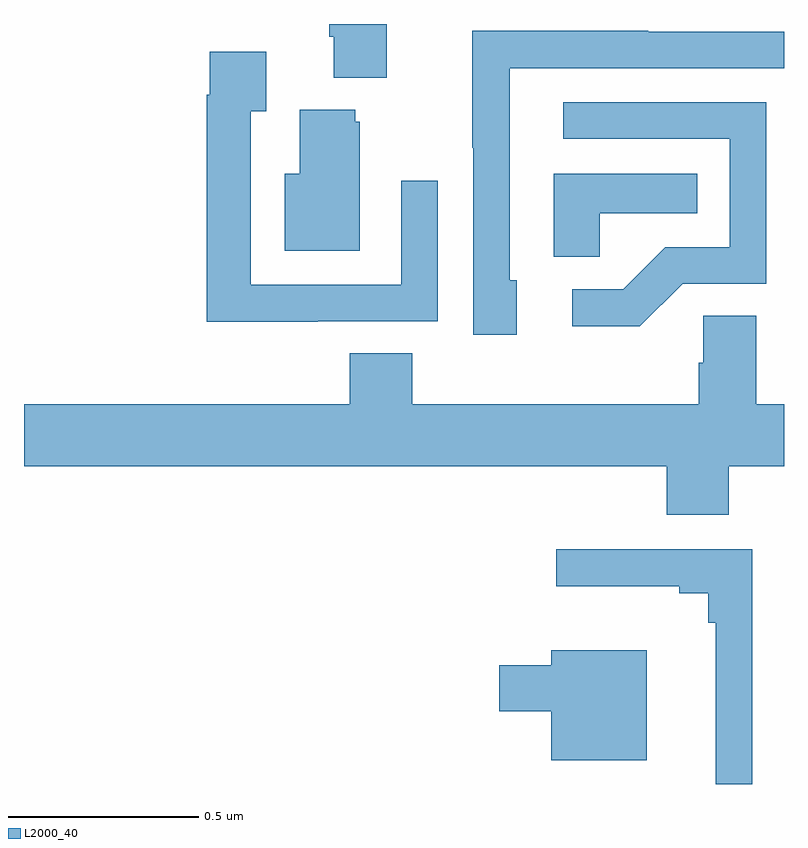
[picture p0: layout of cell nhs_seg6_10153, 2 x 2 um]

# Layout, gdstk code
import gdstk
lib = gdstk.Library(unit=1e-6, precision=1e-09)
def P(c, l, *ps):  # polygons
    for p in ps: c.add(gdstk.Polygon(p, *l))
L2000_40 = (2000, 40)

nhs_seg6_10153 = lib.new_cell('nhs_seg6_10153')
P(nhs_seg6_10153, L2000_40, [(243.955,948.5),(243.803,948.5),(243.803,948.466),(243.815,948.466),(243.815,948.359),(243.955,948.359)],
  [(244.297,947.826),(244.278,947.826),(244.278,948.384),(245,948.384),(245,948.48),(244.643,948.48),(244.643,948.482),(244.18,948.482),(244.18,948.175),(244.182,948.175),(244.182,947.682),(244.297,947.682)],
  [(243.773,947.718),(244.089,947.718),(244.089,948.088),(243.993,948.088),(243.993,947.814),(243.597,947.814),(243.597,948.271),(243.637,948.271),(243.637,948.427),(243.489,948.427),(243.489,948.314),(243.481,948.314),(243.481,947.717),(243.773,947.717)],
  [(244.734,947.817),(244.953,947.817),(244.953,948.294),(244.419,948.294),(244.419,948.198),(244.857,948.198),(244.857,947.913),(244.688,947.913),(244.577,947.802),(244.443,947.802),(244.443,947.705),(244.621,947.705)],
  [(243.883,948.243),(243.872,948.243),(243.872,948.274),(243.725,948.274),(243.725,948.106),(243.686,948.106),(243.686,947.903),(243.883,947.903)],
  [(244.515,948.002),(244.772,948.002),(244.772,948.106),(244.394,948.106),(244.394,947.887),(244.515,947.887)],
  [(244.855,947.336),(245,947.336),(245,947.5),(244.927,947.5),(244.927,947.732),(244.788,947.732),(244.788,947.609),(244.775,947.609),(244.775,947.5),(244.022,947.5),(244.022,947.633),(243.857,947.633),(243.857,947.5),(243,947.5),(243,947.336),(244.691,947.336),(244.691,947.208),(244.855,947.208)],
  [(244.917,947.118),(244.401,947.118),(244.401,947.021),(244.724,947.021),(244.724,947.002),(244.801,947.002),(244.801,946.925),(244.82,946.925),(244.82,946.5),(244.917,946.5)],
  [(244.639,946.852),(244.388,946.852),(244.388,946.813),(244.251,946.813),(244.251,946.691),(244.388,946.691),(244.388,946.562),(244.639,946.562)])

lib.write_gds('nhs_seg6_10153.gds')
